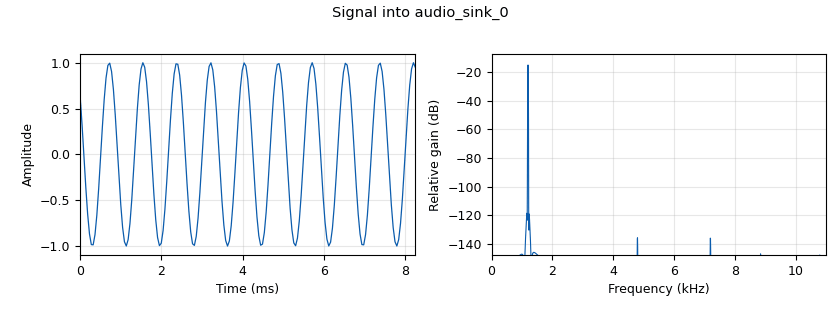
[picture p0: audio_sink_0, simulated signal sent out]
options:
  parameters:
    author: Jorge Y Valeria
    copyright: UIS
    generate_options: qt_gui
    id: Parte1Audio
    output_language: python
    title: Practica3-1
  states: {}

blocks:
- name: frec1
  id: variable
  parameters:
    value: 1.2e3
  states: {}
- name: frec2
  id: variable
  parameters:
    value: 2.2e3
  states: {}
- name: samp_rate
  id: variable
  parameters:
    value: 22.05e3
  states: {}
- name: Modulos_L1B_G4_ParteEnteraL1B_0
  id: Modulos_L1B_G4_ParteEnteraL1B
  parameters:
    PARAM1: 'True'
    PARAM2: ''
  states: {}
- name: analog_sig_source_x_0
  id: analog_sig_source_x
  parameters:
    amp: '1'
    freq: frec1
    offset: '0'
    phase: '0'
    samp_rate: samp_rate
    type: float
    waveform: analog.GR_SIN_WAVE
  states: {}
- name: analog_sig_source_x_1
  id: analog_sig_source_x
  parameters:
    amp: '1'
    freq: frec2
    offset: '0'
    phase: '0'
    samp_rate: samp_rate
    type: float
    waveform: analog.GR_SIN_WAVE
  states: {}
- name: audio_sink_0
  id: audio_sink
  parameters:
    samp_rate: '22050'
  states: {}
- name: blocks_selector_0
  id: blocks_selector
  parameters:
    enabled: 'True'
    input_index: '0'
    num_inputs: '2'
    num_outputs: '1'
    output_index: '0'
    type: float
  states: {}

connections:
- [analog_sig_source_x_0, '0', blocks_selector_0, '0']
- [analog_sig_source_x_1, '0', blocks_selector_0, '1']
- [blocks_selector_0, '0', audio_sink_0, '0']

metadata:
  file_format: 1
